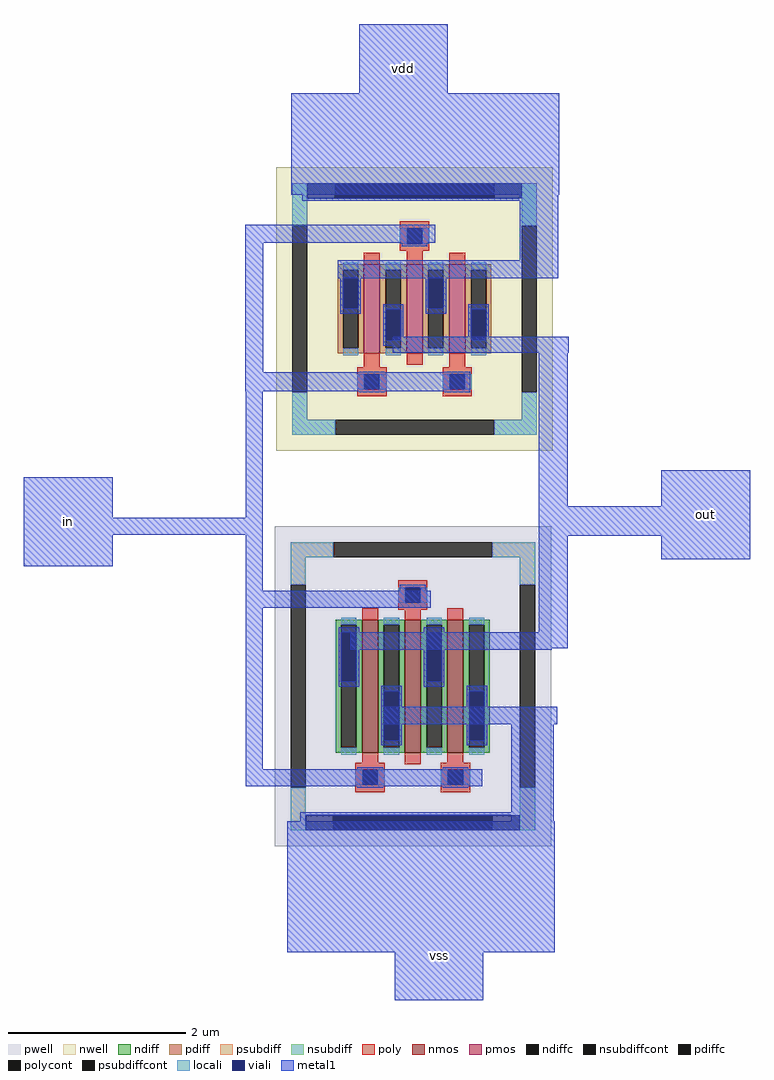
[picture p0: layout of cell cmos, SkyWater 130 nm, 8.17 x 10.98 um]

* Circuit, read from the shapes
.subckt cmos in vdd vss out
XM1 vss in out vss sky130_fd_pr__nfet_01v8 w=1.5 l=0.18 m=3
XM2 out in vdd vdd sky130_fd_pr__pfet_01v8 w=1 l=0.18 m=3
.ends

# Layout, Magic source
magic
tech sky130A
magscale 1 2
<< metal1 >>
rect 738 648 938 804
rect 586 420 1188 648
rect 482 312 910 352
rect 482 20 522 312
rect 1100 272 1186 420
rect 690 232 1186 272
rect 814 64 1210 100
rect 482 -20 986 20
rect 482 -22 980 -20
rect -16 -307 184 -216
rect 483 -307 521 -22
rect -16 -345 521 -307
rect -16 -416 184 -345
rect 483 -471 521 -345
rect 1142 -281 1208 64
rect 1418 -281 1618 -200
rect 1142 -347 1618 -281
rect 483 -509 899 -471
rect 483 -873 521 -509
rect 1142 -564 1208 -347
rect 1418 -400 1618 -347
rect 718 -600 1208 -564
rect 718 -604 1172 -600
rect 794 -772 1184 -732
rect 483 -911 1015 -873
rect 1080 -990 1176 -772
rect 576 -1284 1178 -990
rect 818 -1392 1018 -1284
use sky130_fd_pr__nfet_01v8_KBZXWL  XM1
transform 1 0 859 0 1 -686
box -311 -360 311 360
use sky130_fd_pr__pfet_01v8_XQ58Y7  XM2
transform 1 0 863 0 1 163
box -311 -319 311 319
<< labels >>
flabel metal1 738 604 938 804 0 FreeSans 1600 0 0 0 vdd
port 1 nsew
flabel metal1 1418 -400 1618 -200 0 FreeSans 1600 0 0 0 out
port 3 nsew
flabel metal1 818 -1392 1018 -1192 0 FreeSans 1600 0 0 0 vss
port 2 nsew
flabel metal1 -16 -416 184 -216 0 FreeSans 1600 0 0 0 in
port 0 nsew
<< end >>

# cell sky130_fd_pr__nfet_01v8_KBZXWL: kit device sky130_fd_pr__nfet_01v8, w 1.5 l 0.18 m 1 nf 3 diffcov 100 polycov 100 guard 1 glc 1 grc 1 gtc 1 gbc 1 tbcov 100 rlcov 100 topc 1 botc 1 poverlap 0 doverlap 1 lmin 0.15 wmin 0.42 class mosfet compatible {sky130_fd_pr__nfet_01v8 sky130_fd_pr__nfet_01v8_lvt sky130_fd_bs_flash__special_sonosfet_star sky130_fd_pr__nfet_g5v0d10v5 sky130_fd_pr__nfet_05v0_nvt sky130_fd_pr__nfet_03v3_nvt} full_metal 1 conn_gates 0 viasrc +40 viadrn -40 viagate 100 viagb 100 viagr 0 viagl 0 viagt 0 doports 1

# cell sky130_fd_pr__pfet_01v8_XQ58Y7: kit device sky130_fd_pr__pfet_01v8, w 1.0 l 0.18 m 1 nf 3 diffcov 100 polycov 100 guard 1 glc 1 grc 1 gtc 1 gbc 1 tbcov 100 rlcov 100 topc 1 botc 1 poverlap 0 doverlap 1 lmin 0.15 wmin 0.42 class mosfet compatible {sky130_fd_pr__pfet_01v8 sky130_fd_pr__pfet_01v8_lvt sky130_fd_pr__pfet_01v8_hvt sky130_fd_pr__pfet_g5v0d10v5} full_metal 1 conn_gates 0 viasrc +40 viadrn -40 viagate 100 viagb 0 viagr 0 viagl 0 viagt 100 doports 1
